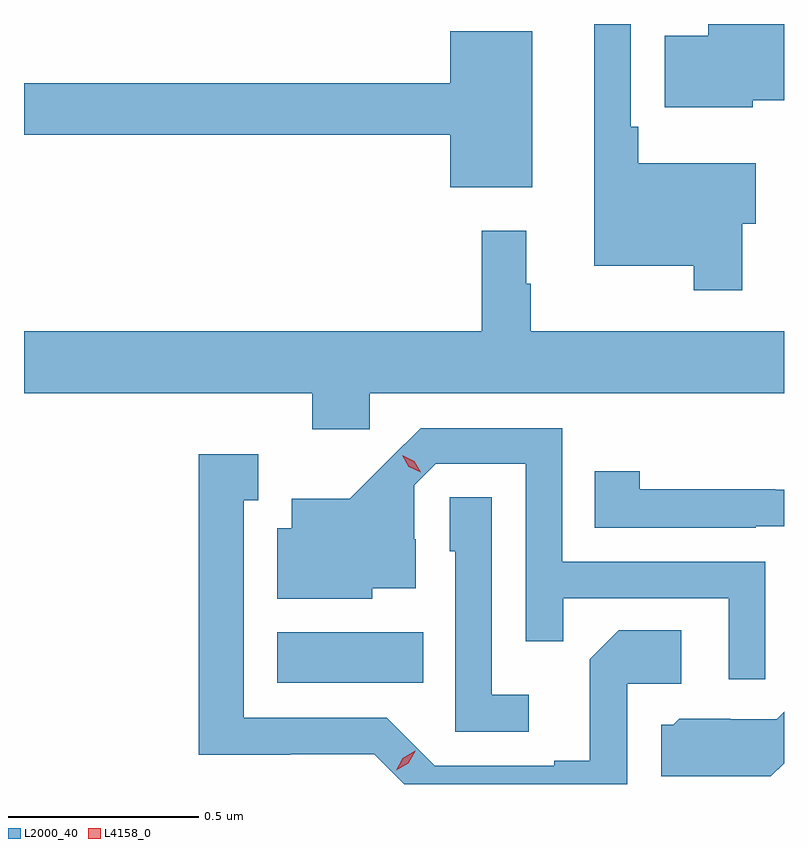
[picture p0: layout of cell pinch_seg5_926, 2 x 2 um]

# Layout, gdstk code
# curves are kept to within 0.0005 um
import gdstk
lib = gdstk.Library(unit=1e-6, precision=1e-09)
def R(c, l, rs):  # rectangles x0, y0, x1, y1
    for r in rs: c.add(gdstk.rectangle(r[:2], r[2:], *l))
def P(c, l, *ps):  # polygons
    for p in ps: c.add(gdstk.Polygon(p, *l))
L2000_40 = (2000, 40)
L4158_0 = (4158, 0)

pinch_seg5_926 = lib.new_cell('pinch_seg5_926')
R(pinch_seg5_926, L2000_40, [(738.104,878.642,738.488,878.776)])
P(pinch_seg5_926, L2000_40, [(739.328,879.851),(739.363,879.851),(739.363,880.009),(739.055,880.009),(739.055,880.105),(739.035,880.105),(739.035,880.376),(738.938,880.376),(738.938,879.74),(739.2,879.74),(739.2,879.675),(739.328,879.675)],
  [(739.356,880.175),(739.438,880.175),(739.438,880.376),(739.238,880.376),(739.238,880.345),(739.124,880.345),(739.124,880.157),(739.356,880.157)],
  [(738.775,880.357),(738.56,880.357),(738.56,880.22),(737.438,880.22),(737.438,880.084),(738.56,880.084),(738.56,879.947),(738.775,879.947)],
  [(738.348,879.404),(739.438,879.404),(739.438,879.568),(738.772,879.568),(738.772,879.692),(738.76,879.692),(738.76,879.832),(738.643,879.832),(738.643,879.568),(737.438,879.568),(737.438,879.404),(738.197,879.404),(738.197,879.309),(738.348,879.309)],
  [(739.389,878.961),(738.855,878.961),(738.855,879.312),(738.482,879.312),(738.295,879.127),(738.143,879.127),(738.143,879.049),(738.104,879.049),(738.104,878.864),(738.354,878.864),(738.354,878.891),(738.469,878.891),(738.469,879.02),(738.465,879.02),(738.465,879.162),(738.522,879.219),(738.759,879.219),(738.759,878.752),(738.857,878.752),(738.857,878.865),(739.293,878.865),(739.293,878.652),(739.389,878.652)],
  [(739.026,878.64),(739.168,878.64),(739.168,878.78),(739.003,878.78),(738.927,878.704),(738.927,878.437),(738.833,878.437),(738.833,878.424),(738.519,878.424),(738.393,878.55),(738.016,878.55),(738.016,879.123),(738.055,879.123),(738.055,879.244),(737.898,879.244),(737.898,878.453),(738.138,878.453),(738.138,878.454),(738.36,878.454),(738.438,878.376),(739.026,878.376)],
  [(739.364,879.054),(739.438,879.054),(739.438,879.151),(739.415,879.151),(739.415,879.152),(739.059,879.152),(739.059,879.199),(738.94,879.199),(738.94,879.051),(739.364,879.051)],
  [(738.766,878.611),(738.669,878.611),(738.669,879.131),(738.558,879.131),(738.558,878.988),(738.573,878.988),(738.573,878.514),(738.766,878.514)],
  [(739.438,878.431),(739.438,878.566),(739.419,878.547),(739.296,878.547),(739.296,878.548),(739.162,878.548),(739.146,878.532),(739.115,878.532),(739.115,878.396),(739.403,878.396)])
P(pinch_seg5_926, L4158_0, [(738.482,879.196),(738.451,879.211),(738.434,879.241),(738.434,879.241),(738.434,879.241),(738.465,879.226),(738.482,879.196),(738.482,879.196)],
  [(738.417,878.412),(738.417,878.412),(738.435,878.444),(738.467,878.463),(738.467,878.463),(738.467,878.462),(738.449,878.43),(738.417,878.412)])

lib.write_gds('pinch_seg5_926.gds')
